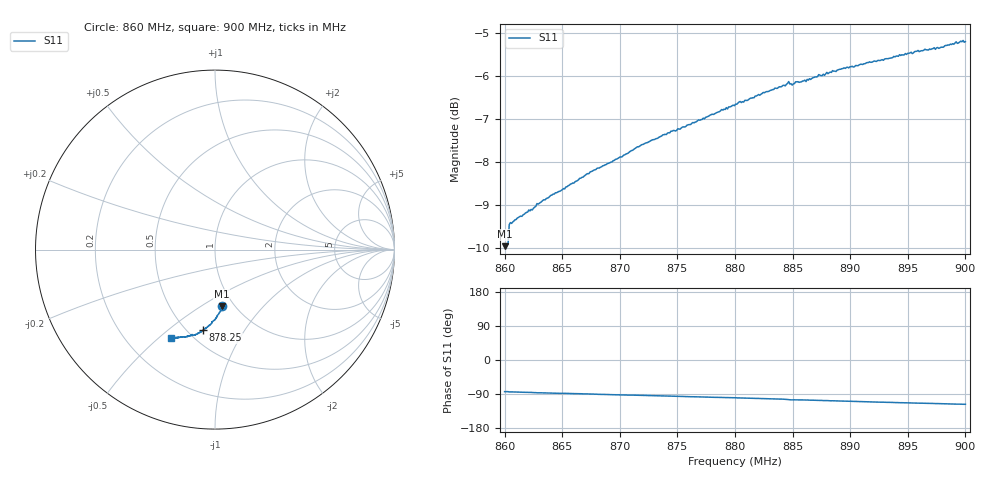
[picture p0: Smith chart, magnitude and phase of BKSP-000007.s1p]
# MHz S MA R 50
!  freq  S11
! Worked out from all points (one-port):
!   400 points, 860 MHz to 900 MHz, reference 50 ohm
!   lowest |S11| = -9.9 dB at 860 MHz (marker M1), VSWR 1.93, Z = 43.7 - j30.7 ohm
!   |S11| at or under -10 dB: nowhere
!   S11 on the Smith chart (normalised r, x): 860 MHz: 0.87, -0.61; 878.25 MHz: 0.59, -0.67; 900 MHz: 0.39, -0.55
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860  0.3182 -83.5
860.3008  0.3199 -83.5
860.401  0.3371 -84.3
860.5013  0.3389 -84.2
862.1053  0.3506 -85.6
862.406  0.3506 -85.9
862.807  0.3566 -86.6
865.0125  0.3702 -88.0
867.7193  0.3899 -89.9
870.0251  0.404 -92.3
871.0276  0.411 -92.6
875.0376  0.4357 -96.0
878.2456  0.4536 -98.5
880.0501  0.4654 -99.7
884.0602  0.4879 -103.1
884.6617  0.4944 -104.6
884.7619  0.4911 -104.9
885.0627  0.4913 -105.2
886.0652  0.4963 -105.5
886.1654  0.4943 -105.7
886.2657  0.4973 -105.5
890.0752  0.5144 -109.1
895.0877  0.5332 -113.2
896.9925  0.5386 -114.5
898.5965  0.545 -115.8
898.797  0.5459 -116.3
899.198  0.5499 -116.4
900  0.5501 -116.7
